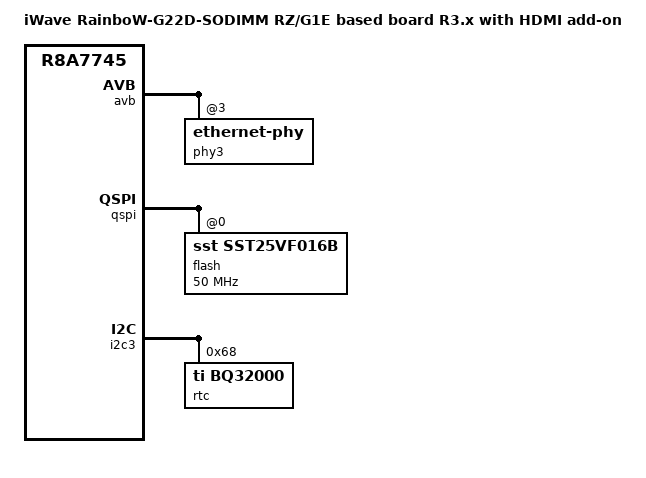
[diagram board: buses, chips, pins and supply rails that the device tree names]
/*
 * Device Tree Source for the iWave-RZG1E SODIMM carrier board + HDMI daughter
 * board
 *
 * Copyright (C) 2017 Renesas Electronics Corp.
 *
 * This file is licensed under the terms of the GNU General Public License
 * version 2.  This program is licensed "as is" without any warranty of any
 * kind, whether express or implied.
 */

#include "r8a7745-iwg22d-sodimm-dbhd-ca.dts"

/ {
	model = "iWave RainboW-G22D-SODIMM RZ/G1E based board R3.x with HDMI add-on";
	compatible = "iwave,g22d", "iwave,g22m", "renesas,r8a7745";
};

&avb {
	/*
	 * On some older versions of the platform (before R4.0) the phy address
	 * may be 1 or 3. The address is fixed to 3 for R4.0 onwards.
	 * Remove <reg> property to activate PHY autoscan function.
	 */
	phy3: ethernet-phy@3 {
		/delete-property/ reg;
	};
};

&qspi {
	/* WARNING - This device contains the bootloader. Handle with care. */
	flash: flash@0 {
		compatible = "sst,sst25vf016b", "jedec,spi-nor";
		spi-max-frequency = <50000000>;
	};
};

&i2c3 {
	/delete-node/ rtc@51;
	rtc@68 {
		compatible = "ti,bq32000";
		reg = <0x68>;
	};
};
